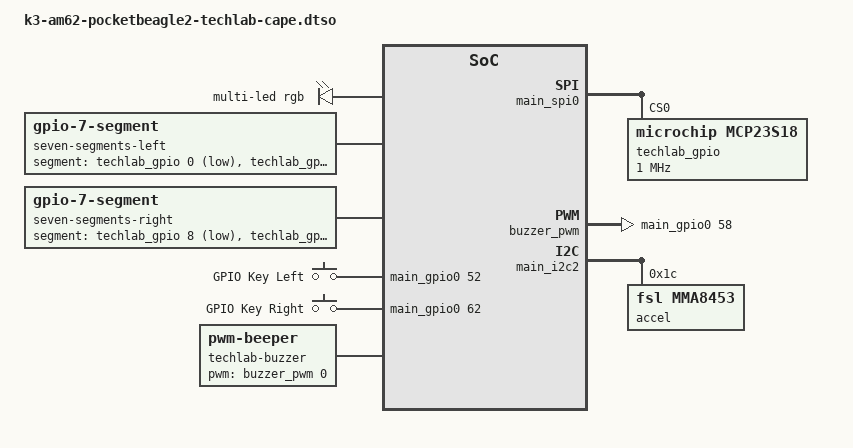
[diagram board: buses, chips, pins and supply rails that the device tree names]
/dts-v1/;
/plugin/;

#include <dt-bindings/leds/common.h>
#include <dt-bindings/gpio/gpio.h>
#include <dt-bindings/input/input.h>

/*
 * Helper to show loaded overlays under: /proc/device-tree/chosen/overlays/
 */
&{/chosen} {
	overlays {
		k3-am62-pocketbeagle2-techlab-cape.kernel = __TIMESTAMP__;
	};
};

&main_spi0 {
	status = "okay";
	#address-cells = <1>;
	#size-cells = <0>;

	techlab_gpio: techlab-gpio@0 {
		compatible = "microchip,mcp23s18";
		reg = <0>;
		gpio-controller;
		#gpio-cells = <2>;
		spi-max-frequency = <1000000>;
		microchip,spi-present-mask = <1>;
		gpio-line-names = "LD4", "LD7", "LD8",	  /* 0-2 */
				  "LD6", "LD3", "LD2",    /* 3-5 */
				  "LD5", "", "LD11",      /* 6-8 */
				  "LD14", "LD15", "LD13", /* 9-11 */
				  "LD10", "LD9", "LD12",  /* 12-14 */
				  "";                     /* 15 */
	};
};

&{/} {
	techlab-led {
		compatible = "pwm-leds-multicolor";
		pinctrl-names = "default";
		pinctrl-0 = <&P1_33_A17_pwm>;

		multi-led {
			color = <LED_COLOR_ID_RGB>;
			max-brightness = <255>;

			led-red {
				pwms = <&epwm2 1 255 0>;
				color = <LED_COLOR_ID_RED>;
			};

			led-green {
				pwms = <&ecap2 0 255 0>;
				color = <LED_COLOR_ID_GREEN>;
			};

			led-blue {
				pwms = <&epwm2 0 255 0>;
				color = <LED_COLOR_ID_BLUE>;
			};
		};
	};

	seven-segments-left {
		compatible = "gpio-7-segment";
		segment-gpios = <&techlab_gpio 0 GPIO_ACTIVE_LOW>,
				<&techlab_gpio 1 GPIO_ACTIVE_LOW>,
				<&techlab_gpio 2 GPIO_ACTIVE_LOW>,
				<&techlab_gpio 3 GPIO_ACTIVE_LOW>,
				<&techlab_gpio 4 GPIO_ACTIVE_LOW>,
				<&techlab_gpio 5 GPIO_ACTIVE_LOW>,
				<&techlab_gpio 6 GPIO_ACTIVE_LOW>;
	};

	seven-segments-right {
		compatible = "gpio-7-segment";
		segment-gpios = <&techlab_gpio 8 GPIO_ACTIVE_LOW>,
				<&techlab_gpio 9 GPIO_ACTIVE_LOW>,
				<&techlab_gpio 10 GPIO_ACTIVE_LOW>,
				<&techlab_gpio 11 GPIO_ACTIVE_LOW>,
				<&techlab_gpio 12 GPIO_ACTIVE_LOW>,
				<&techlab_gpio 13 GPIO_ACTIVE_LOW>,
				<&techlab_gpio 14 GPIO_ACTIVE_LOW>;
	};

	buzzer_pwm: buzzer-pwm {
		#pwm-cells = <3>;
		compatible = "pwm-gpio";
		pinctrl-names = "default";
		pinctrl-0 = <&P2_30_gpio>;
		gpios = <&main_gpio0 58 GPIO_ACTIVE_HIGH>;
	};

	buttons {
		compatible = "gpio-keys";
		pinctrl-names = "default";
		pinctrl-0 = <&P1_29_gpio &P2_33_gpio>;

		left {
			label = "GPIO Key Left";
			gpios = <&main_gpio0 52 0>;
			linux,code = <KEY_LEFT>;
		};

		right {
			label = "GPIO Key Right";
			gpios = <&main_gpio0 62 0>;
			linux,code = <KEY_RIGHT>;
		};
	};

	techlab-buzzer {
		compatible = "pwm-beeper";
		pwms = <&buzzer_pwm 0 50000 0>;
	};
};

&main_i2c2 {
	status = "okay";
	#address-cells = <1>;
	#size-cells = <0>;

	accel@1c {
		compatible = "fsl,mma8453";
		reg = <0x1c>;
	};
};
